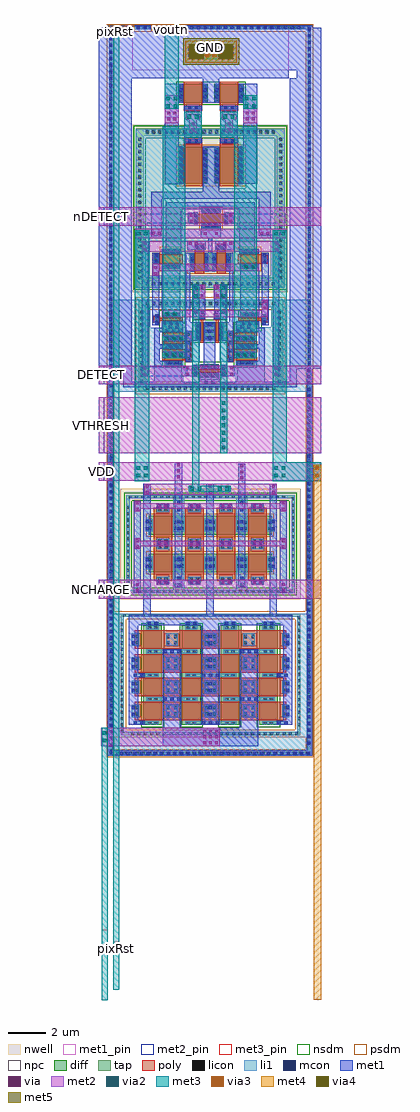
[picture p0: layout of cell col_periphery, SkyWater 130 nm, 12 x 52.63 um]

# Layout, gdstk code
from math import pi, radians
import gdstk
lib = gdstk.Library(unit=1e-6, precision=1e-09)
def R(c, l, rs):  # rectangles x0, y0, x1, y1
    for r in rs: c.add(gdstk.rectangle(r[:2], r[2:], *l))
def A(c, l, x, y, w, h, nx, ny, dx, dy):  # array of equal rectangles
    R(c, l, [(x+i*dx, y+j*dy, x+i*dx+w, y+j*dy+h) for i in range(nx) for j in range(ny)])
nwell = (64, 20)
diff = (65, 20)
tap = (65, 44)
poly = (66, 20)
licon = (66, 44)
li1 = (67, 20)
mcon = (67, 44)
met1_pin = (68, 16)
met1 = (68, 20)
via = (68, 44)
met2_pin = (69, 16)
met2 = (69, 20)
via2 = (69, 44)
met3_pin = (70, 16)
met3 = (70, 20)
via3 = (70, 44)
met4 = (71, 20)
via4 = (71, 44)
met5 = (72, 20)
nsdm = (93, 44)
psdm = (94, 20)
npc = (95, 20)

sky130_fd_pr__nfet_01v8_ = lib.new_cell('sky130_fd_pr__nfet_01v8_9ZWGZ9')
R(sky130_fd_pr__nfet_01v8_, diff, [(-0.365,-0.655,0.365,0.345)])
R(sky130_fd_pr__nfet_01v8_, poly, [(-0.075,-0.785,0.075,0.455), (-0.165,0.455,0.165,0.785)])
A(sky130_fd_pr__nfet_01v8_, licon, -0.305, -0.58, 0.17, 0.17, 1, 3, 0, 0.34)
A(sky130_fd_pr__nfet_01v8_, licon, 0.135, -0.58, 0.17, 0.17, 1, 3, 0, 0.34)
R(sky130_fd_pr__nfet_01v8_, licon, [(-0.085,0.535,0.085,0.705)])
R(sky130_fd_pr__nfet_01v8_, li1, [(-0.305,-0.66,-0.135,0.35), (0.125,-0.66,0.315,0.35), (-0.165,0.535,0.165,0.705)])
R(sky130_fd_pr__nfet_01v8_, met1, [(-0.145,0.505,0.145,0.735)])
R(sky130_fd_pr__nfet_01v8_, nsdm, [(-0.49,-0.78,0.49,0.47)])
R(sky130_fd_pr__nfet_01v8_, npc, [(-0.185,0.435,0.185,0.805)])
sky130_fd_pr__nfet_01v8_.add(gdstk.Label('G', (0,0.62), layer=67, texttype=5))
sky130_fd_pr__nfet_01v8_.add(gdstk.Label('S', (0.22,-0.155), layer=67, texttype=5))
sky130_fd_pr__nfet_01v8_.add(gdstk.Label('D', (-0.22,-0.155), layer=67, texttype=5))

c_sky130_fd_pr__nfet_01v8_ = lib.new_cell('sky130_fd_pr__nfet_01v8_ML4XRG')
R(c_sky130_fd_pr__nfet_01v8_, diff, [(-0.365,-0.345,0.365,0.655)])
R(c_sky130_fd_pr__nfet_01v8_, poly, [(-0.165,-0.785,0.165,-0.455), (-0.075,-0.455,0.075,0.785)])
A(c_sky130_fd_pr__nfet_01v8_, licon, -0.305, -0.27, 0.17, 0.17, 1, 3, 0, 0.34)
A(c_sky130_fd_pr__nfet_01v8_, licon, 0.135, -0.27, 0.17, 0.17, 1, 3, 0, 0.34)
R(c_sky130_fd_pr__nfet_01v8_, licon, [(-0.085,-0.705,0.085,-0.535)])
R(c_sky130_fd_pr__nfet_01v8_, li1, [(-0.265,-0.705,0.265,-0.535), (-0.305,-0.35,-0.135,0.66), (0.135,-0.35,0.305,0.66)])
R(c_sky130_fd_pr__nfet_01v8_, mcon, [(-0.265,-0.705,-0.095,-0.535), (0.095,-0.705,0.265,-0.535)])
R(c_sky130_fd_pr__nfet_01v8_, met1, [(-0.325,-0.735,-0.035,-0.505), (0.035,-0.735,0.325,-0.505), (-0.335,-0.345,-0.105,0.655), (0.105,-0.345,0.335,0.655)])
R(c_sky130_fd_pr__nfet_01v8_, nsdm, [(-0.49,-0.47,0.49,0.78)])
R(c_sky130_fd_pr__nfet_01v8_, npc, [(-0.185,-0.805,0.185,-0.435)])
c_sky130_fd_pr__nfet_01v8_.add(gdstk.Label('G', (0,-0.62), layer=67, texttype=5))
c_sky130_fd_pr__nfet_01v8_.add(gdstk.Label('S', (0.22,0.155), layer=67, texttype=5))
c_sky130_fd_pr__nfet_01v8_.add(gdstk.Label('D', (-0.22,0.155), layer=67, texttype=5))

c_sky130_fd_pr__nfet_01v8__ = lib.new_cell('sky130_fd_pr__nfet_01v8_9ZAZEB')
R(c_sky130_fd_pr__nfet_01v8__, diff, [(-0.365,-0.5,0.365,0.5)])
R(c_sky130_fd_pr__nfet_01v8__, poly, [(-0.165,-0.94,0.165,-0.61), (-0.075,-0.61,0.075,0.61), (-0.165,0.61,0.165,0.94)])
A(c_sky130_fd_pr__nfet_01v8__, licon, -0.305, -0.425, 0.17, 0.17, 1, 3, 0, 0.34)
A(c_sky130_fd_pr__nfet_01v8__, licon, 0.135, -0.425, 0.17, 0.17, 1, 3, 0, 0.34)
R(c_sky130_fd_pr__nfet_01v8__, licon, [(-0.085,-0.86,0.085,-0.69), (-0.085,0.69,0.085,0.86)])
R(c_sky130_fd_pr__nfet_01v8__, li1, [(-0.265,-0.86,0.265,-0.69), (-0.305,-0.52,-0.135,0.52), (0.135,-0.52,0.305,0.52), (-0.265,0.69,0.265,0.86)])
R(c_sky130_fd_pr__nfet_01v8__, mcon, [(-0.265,-0.86,-0.095,-0.69), (0.095,-0.86,0.265,-0.69), (-0.305,-0.265,-0.135,-0.095), (0.135,-0.265,0.305,-0.095), (-0.305,0.095,-0.135,0.265), (0.135,0.095,0.305,0.265), (-0.265,0.69,-0.095,0.86), (0.095,0.69,0.265,0.86)])
R(c_sky130_fd_pr__nfet_01v8__, met1, [(-0.295,-1.355,0.285,-0.89), (-0.325,-0.89,0.325,-0.66), (-0.335,-0.5,-0.105,0.5), (0.105,-0.5,0.335,0.5), (-0.325,0.66,0.325,0.89), (-0.295,0.89,0.285,1.355)])
R(c_sky130_fd_pr__nfet_01v8__, nsdm, [(-0.49,-0.625,0.49,0.625)])
R(c_sky130_fd_pr__nfet_01v8__, npc, [(-0.185,-0.96,0.185,-0.59), (-0.185,0.59,0.185,0.96)])
c_sky130_fd_pr__nfet_01v8__.add(gdstk.Label('G', (0,0.775), layer=67, texttype=5))
c_sky130_fd_pr__nfet_01v8__.add(gdstk.Label('S', (0.22,0), layer=67, texttype=5))
c_sky130_fd_pr__nfet_01v8__.add(gdstk.Label('D', (-0.22,0), layer=67, texttype=5))

sky130_fd_pr__pfet_01v8_ = lib.new_cell('sky130_fd_pr__pfet_01v8_KDZMJM')
R(sky130_fd_pr__pfet_01v8_, nwell, [(-0.72,-0.99,0.72,0.82)])
R(sky130_fd_pr__pfet_01v8_, diff, [(-0.54,-0.68,0.54,0.32)])
R(sky130_fd_pr__pfet_01v8_, poly, [(-0.25,-0.81,0.25,0.805)])
A(sky130_fd_pr__pfet_01v8_, licon, -0.48, -0.605, 0.17, 0.17, 1, 3, 0, 0.34)
A(sky130_fd_pr__pfet_01v8_, licon, 0.31, -0.605, 0.17, 0.17, 1, 3, 0, 0.34)
R(sky130_fd_pr__pfet_01v8_, licon, [(-0.085,0.555,0.085,0.725)])
R(sky130_fd_pr__pfet_01v8_, li1, [(-0.48,-0.7,-0.31,0.34), (0.31,-0.7,0.48,0.34), (-0.265,0.555,0.265,0.725)])
R(sky130_fd_pr__pfet_01v8_, mcon, [(-0.48,-0.445,-0.31,-0.275), (0.31,-0.445,0.48,-0.275), (-0.48,-0.085,-0.31,0.085), (0.31,-0.085,0.48,0.085), (-0.265,0.555,-0.095,0.725), (0.095,0.555,0.265,0.725)])
R(sky130_fd_pr__pfet_01v8_, met1, [(-0.51,-0.68,-0.28,0.32), (0.28,-0.68,0.51,0.32), (-0.325,0.525,0.325,0.755)])
R(sky130_fd_pr__pfet_01v8_, psdm, [(-0.665,-0.805,0.665,0.445)])
R(sky130_fd_pr__pfet_01v8_, npc, [(-0.185,0.455,0.185,0.825)])
sky130_fd_pr__pfet_01v8_.add(gdstk.Label('G', (0,0.64), layer=67, texttype=5))
sky130_fd_pr__pfet_01v8_.add(gdstk.Label('S', (0.395,-0.18), layer=67, texttype=5))
sky130_fd_pr__pfet_01v8_.add(gdstk.Label('D', (-0.395,-0.18), layer=67, texttype=5))

c_sky130_fd_pr__pfet_01v8_ = lib.new_cell('sky130_fd_pr__pfet_01v8_U2XPXD')
R(c_sky130_fd_pr__pfet_01v8_, nwell, [(-0.72,-1,0.72,1)])
R(c_sky130_fd_pr__pfet_01v8_, diff, [(-0.54,-0.5,0.54,0.5)])
R(c_sky130_fd_pr__pfet_01v8_, poly, [(-0.25,-0.985,0.25,0.985)])
A(c_sky130_fd_pr__pfet_01v8_, licon, -0.48, -0.425, 0.17, 0.17, 1, 3, 0, 0.34)
A(c_sky130_fd_pr__pfet_01v8_, licon, 0.31, -0.425, 0.17, 0.17, 1, 3, 0, 0.34)
R(c_sky130_fd_pr__pfet_01v8_, licon, [(-0.085,-0.905,0.085,-0.735), (-0.085,0.735,0.085,0.905)])
R(c_sky130_fd_pr__pfet_01v8_, li1, [(-0.265,-0.905,0.265,-0.735), (-0.48,-0.52,-0.31,0.52), (0.31,-0.52,0.48,0.52), (-0.265,0.735,0.265,0.905)])
R(c_sky130_fd_pr__pfet_01v8_, mcon, [(-0.265,-0.905,-0.095,-0.735), (0.095,-0.905,0.265,-0.735), (-0.48,-0.265,-0.31,-0.095), (0.31,-0.265,0.48,-0.095), (-0.48,0.095,-0.31,0.265), (0.31,0.095,0.48,0.265), (-0.265,0.735,-0.095,0.905), (0.095,0.735,0.265,0.905)])
R(c_sky130_fd_pr__pfet_01v8_, met1, [(-0.325,-0.935,0.325,-0.705), (-0.51,-0.5,-0.28,0.5), (0.28,-0.5,0.51,0.5), (-0.325,0.705,0.325,0.935)])
R(c_sky130_fd_pr__pfet_01v8_, psdm, [(-0.665,-0.625,0.665,0.625)])
R(c_sky130_fd_pr__pfet_01v8_, npc, [(-0.185,-1.005,0.185,-0.635), (-0.185,0.635,0.185,1.005)])
c_sky130_fd_pr__pfet_01v8_.add(gdstk.Label('G', (0,0.82), layer=67, texttype=5))
c_sky130_fd_pr__pfet_01v8_.add(gdstk.Label('S', (0.395,0), layer=67, texttype=5))
c_sky130_fd_pr__pfet_01v8_.add(gdstk.Label('D', (-0.395,0), layer=67, texttype=5))

c_sky130_fd_pr__pfet_01v8__ = lib.new_cell('sky130_fd_pr__pfet_01v8_D48SMA')
R(c_sky130_fd_pr__pfet_01v8__, nwell, [(-0.97,-1.32,0.97,1.49)])
R(c_sky130_fd_pr__pfet_01v8__, diff, [(-0.79,-0.82,0.79,1.18)])
R(c_sky130_fd_pr__pfet_01v8__, poly, [(-0.5,-1.305,0.5,1.31)])
A(c_sky130_fd_pr__pfet_01v8__, licon, -0.73, -0.755, 0.17, 0.17, 1, 6, 0, 0.34)
A(c_sky130_fd_pr__pfet_01v8__, licon, 0.56, -0.755, 0.17, 0.17, 1, 6, 0, 0.34)
R(c_sky130_fd_pr__pfet_01v8__, licon, [(-0.255,-1.225,-0.085,-1.055), (0.085,-1.225,0.255,-1.055)])
R(c_sky130_fd_pr__pfet_01v8__, li1, [(-0.5,-1.225,0.5,-1.055), (-0.73,-0.84,-0.56,1.2), (0.56,-0.84,0.73,1.2)])
A(c_sky130_fd_pr__pfet_01v8__, mcon, -0.73, -0.625, 0.17, 0.17, 1, 5, 0, 0.36)
A(c_sky130_fd_pr__pfet_01v8__, mcon, 0.56, -0.625, 0.17, 0.17, 1, 5, 0, 0.36)
R(c_sky130_fd_pr__pfet_01v8__, mcon, [(-0.265,-1.225,-0.095,-1.055), (0.095,-1.225,0.265,-1.055)])
R(c_sky130_fd_pr__pfet_01v8__, met1, [(-0.48,-1.255,0.48,-1.025), (-0.76,-0.82,-0.53,1.18), (0.53,-0.82,0.76,1.18)])
R(c_sky130_fd_pr__pfet_01v8__, psdm, [(-0.915,-0.945,0.915,1.305)])
R(c_sky130_fd_pr__pfet_01v8__, npc, [(-0.355,-1.325,0.355,-0.955)])
c_sky130_fd_pr__pfet_01v8__.add(gdstk.Label('G', (0,-1.14), layer=67, texttype=5))
c_sky130_fd_pr__pfet_01v8__.add(gdstk.Label('S', (0.645,0.18), layer=67, texttype=5))
c_sky130_fd_pr__pfet_01v8__.add(gdstk.Label('D', (-0.645,0.18), layer=67, texttype=5))

c_sky130_fd_pr__nfet_01v8___ = lib.new_cell('sky130_fd_pr__nfet_01v8_V52S8A')
R(c_sky130_fd_pr__nfet_01v8___, diff, [(-0.79,-0.655,0.79,0.345)])
R(c_sky130_fd_pr__nfet_01v8___, poly, [(-0.5,-0.785,0.5,0.785)])
A(c_sky130_fd_pr__nfet_01v8___, licon, -0.73, -0.58, 0.17, 0.17, 1, 3, 0, 0.34)
A(c_sky130_fd_pr__nfet_01v8___, licon, 0.56, -0.58, 0.17, 0.17, 1, 3, 0, 0.34)
R(c_sky130_fd_pr__nfet_01v8___, licon, [(-0.255,0.535,-0.085,0.705), (0.085,0.535,0.255,0.705)])
R(c_sky130_fd_pr__nfet_01v8___, li1, [(-0.73,-0.675,-0.56,0.365), (0.56,-0.675,0.73,0.365), (-0.5,0.535,0.5,0.705)])
R(c_sky130_fd_pr__nfet_01v8___, mcon, [(-0.73,-0.42,-0.56,-0.25), (0.56,-0.42,0.73,-0.25), (-0.73,-0.06,-0.56,0.11), (0.56,-0.06,0.73,0.11), (-0.265,0.535,-0.095,0.705), (0.095,0.535,0.265,0.705)])
R(c_sky130_fd_pr__nfet_01v8___, met1, [(-0.76,-0.655,-0.53,0.345), (0.53,-0.655,0.76,0.345), (-0.48,0.505,0.48,0.735)])
R(c_sky130_fd_pr__nfet_01v8___, nsdm, [(-0.915,-0.78,0.915,0.47)])
R(c_sky130_fd_pr__nfet_01v8___, npc, [(-0.355,0.435,0.355,0.805)])
c_sky130_fd_pr__nfet_01v8___.add(gdstk.Label('G', (0,0.62), layer=67, texttype=5))
c_sky130_fd_pr__nfet_01v8___.add(gdstk.Label('S', (0.645,-0.155), layer=67, texttype=5))
c_sky130_fd_pr__nfet_01v8___.add(gdstk.Label('D', (-0.645,-0.155), layer=67, texttype=5))

dyn_comp_v1 = lib.new_cell('dyn_comp_v1')
R(dyn_comp_v1, nwell, [(0.03,4.285,8.4,13.32)])
R(dyn_comp_v1, diff, [(3.905,1.69,4.455,1.97), (3.915,1.97,4.455,2.67), (5.645,2.21,6.605,2.33), (1.595,2.32,2.745,2.53), (5.645,2.33,6.855,2.39), (5.605,2.39,6.855,2.49), (5.605,2.49,5.855,2.54), (4.075,2.67,4.305,2.69), (3.915,5.415,4.525,6.415), (3.125,6.005,3.245,6.255)])
R(dyn_comp_v1, tap, [(0.32,-1.075,8.14,-0.665), (0.32,-0.665,0.73,3.48), (7.73,-0.665,8.14,3.48), (0.32,3.48,8.14,3.89), (0.21,4.55,8.22,4.96), (0.21,4.96,0.62,12.73), (7.81,4.96,8.22,12.73), (0.21,12.73,8.22,13.14)])
R(dyn_comp_v1, poly, [(2.855,0.54,3.185,2.19), (5.165,0.54,5.495,2.19), (1.155,2.67,1.455,3), (1.155,5.835,1.405,6.345)])
A(dyn_comp_v1, licon, 0.745, -0.955, 0.17, 0.17, 21, 2, 0.34, 4.555)
A(dyn_comp_v1, licon, 0.44, -0.605, 0.17, 0.17, 1, 12, 0, 0.34)
A(dyn_comp_v1, licon, 7.85, -0.605, 0.17, 0.17, 1, 12, 0, 0.34)
A(dyn_comp_v1, licon, 0.73, 4.67, 0.17, 0.17, 21, 2, 0.34, 8.18)
A(dyn_comp_v1, licon, 0.33, 4.985, 0.17, 0.17, 1, 23, 0, 0.34)
A(dyn_comp_v1, licon, 7.93, 4.985, 0.17, 0.17, 1, 23, 0, 0.34)
R(dyn_comp_v1, li1, [(0.315,-1.08,8.145,-0.59), (0.315,-0.59,2.75,0.4), (3.66,-0.59,4.7,-0.08), (5.6,-0.59,8.145,0.4), (0.315,0.4,2.735,0.58), (5.68,0.4,8.145,0.57), (2.935,0.54,3.645,2.19), (4.725,0.54,5.415,2.19), (6.825,0.57,8.145,1.27), (0.315,0.58,1.495,1.27), (1.74,0.825,2.75,1.025), (5.6,0.825,6.61,1.025), (0.315,1.27,2.745,1.46), (5.585,1.27,8.145,1.46), (0.315,1.46,1.495,2.16), (6.825,1.46,8.145,2.16), (3.905,1.685,4.465,2.705), (1.74,1.705,2.75,1.905), (5.6,1.705,6.61,1.905), (0.315,2.16,2.095,2.315), (2.555,2.16,2.745,2.315), (5.605,2.16,5.865,2.21), (6.605,2.16,8.145,2.21), (3.465,2.19,3.635,2.455), (4.725,2.19,4.895,2.455), (5.6,2.21,8.145,2.405), (0.315,2.315,2.75,2.37), (0.315,2.37,0.965,3.48), (1.59,2.37,2.75,2.53), (5.6,2.405,6.86,2.56), (7.495,2.405,8.145,3.48), (1.67,2.53,1.765,2.57), (2.555,2.53,2.75,2.7), (5.6,2.56,6.78,2.66), (1.235,2.57,1.405,3.1), (7.045,2.58,7.215,3.11), (5.6,2.66,5.865,2.71), (3.605,2.88,3.935,3.14), (4.425,2.88,4.755,3.14), (1.83,2.97,2.36,3.01), (6.09,2.98,6.62,3.15), (1.7,3.01,2.49,3.14), (3.345,3.14,3.935,3.31), (4.425,3.14,5.015,3.31), (0.315,3.48,8.145,3.885), (0.205,4.545,8.225,5.195), (0.205,5.195,0.945,7.055), (7.485,5.195,8.225,7.055), (3.125,5.395,3.295,5.585), (3.125,5.585,3.325,6.415), (1.155,5.83,1.405,6.36), (7.07,5.83,7.24,6.36), (3.125,6.415,3.305,6.435), (0.205,7.055,8.225,7.725), (0.205,7.725,2.735,8.935), (3.725,7.725,4.775,8.015), (5.705,7.725,8.225,8.935), (3,8.015,3.52,8.545), (4.99,8.015,5.42,8.545), (0.205,8.935,8.225,9.915), (0.205,9.915,2.385,12.765), (3.845,9.915,4.665,12.155), (6.125,9.915,8.225,12.765), (0.205,12.765,8.225,13.075)])
A(dyn_comp_v1, mcon, 1.98, 0.4, 0.17, 0.17, 1, 4, 0, 0.44)
A(dyn_comp_v1, mcon, 2.34, 0.4, 0.17, 0.17, 1, 4, 0, 0.44)
A(dyn_comp_v1, mcon, 5.84, 0.4, 0.17, 0.17, 1, 4, 0, 0.44)
A(dyn_comp_v1, mcon, 6.2, 0.4, 0.17, 0.17, 1, 4, 0, 0.44)
A(dyn_comp_v1, mcon, 4.095, 1.745, 0.17, 0.17, 1, 3, 0, 0.36)
R(dyn_comp_v1, mcon, [(3.915,-0.65,4.085,-0.48), (4.275,-0.65,4.445,-0.48), (3.465,1.925,3.635,2.095), (4.725,1.925,4.895,2.095), (3.465,2.285,3.635,2.455), (4.725,2.285,4.895,2.455), (1.98,2.345,2.15,2.515), (2.34,2.345,2.51,2.515), (5.84,2.35,6.01,2.52), (6.2,2.35,6.37,2.52), (1.83,2.97,2,3.14), (2.19,2.97,2.36,3.14), (6.09,2.98,6.26,3.15), (6.45,2.98,6.62,3.15), (3.345,3.14,3.515,3.31), (3.705,3.14,3.875,3.31), (4.485,3.14,4.655,3.31), (4.845,3.14,5.015,3.31)])
R(dyn_comp_v1, met1_pin, [(3.3,-0.7,3.38,-0.56)])
R(dyn_comp_v1, met1, [(-0.475,-0.84,8.875,-0.52), (-0.475,-0.52,-0.03,15.845), (1.205,-0.52,2.685,0.6), (3.66,-0.52,4.7,-0.08), (5.675,-0.52,7.145,0.6), (8.49,-0.52,8.875,15.845), (0.525,-0.24,0.875,7.055), (2.825,-0.24,3.145,-0.11), (5.215,-0.24,5.535,-0.11), (7.575,-0.24,7.935,7.055), (2.825,-0.11,3.52,0.22), (4.845,-0.11,5.535,0.22), (2.825,0.22,3.145,0.34), (5.215,0.22,5.535,0.34), (3.875,0.3,4.485,2.69), (2.905,0.56,3.135,1.67), (5.215,0.56,5.445,1.67), (1.205,0.6,1.495,1.25), (6.825,0.6,7.145,1.25), (1.745,0.795,2.745,1.055), (5.605,0.795,6.605,1.055), (1.205,1.25,2.745,1.48), (5.605,1.25,7.145,1.48), (1.205,1.48,1.495,2.13), (6.825,1.48,7.145,2.13), (2.905,1.67,3.695,2.69), (4.665,1.67,5.445,2.69), (1.745,1.675,2.745,1.935), (5.605,1.675,6.605,1.935), (1.205,2.13,2.765,2.37), (5.605,2.13,7.145,2.16), (5.585,2.16,7.145,2.37), (1.595,2.37,2.765,2.73), (5.605,2.37,7.115,2.38), (5.605,2.38,6.855,2.56), (1.085,2.51,1.455,6.42), (6.995,2.52,7.365,6.42), (5.605,2.56,6.815,2.66), (5.605,2.66,5.885,2.74), (2.905,2.69,3.125,5.395), (5.235,2.69,5.445,6.015), (3.285,2.85,3.935,4.695), (4.425,2.85,5.075,4.695), (5.835,2.935,6.855,5.845), (1.595,2.94,2.605,5.815), (2.905,5.395,3.355,5.705), (3.915,5.415,4.525,6.415), (2.905,5.705,3.125,6.005), (2.905,6.005,3.245,6.255), (5.105,6.015,5.445,6.255), (2.905,6.255,3.125,6.415), (5.235,6.255,5.445,6.415), (1.825,6.375,2.645,8.78), (5.785,6.375,6.605,8.78), (4.115,6.415,4.325,7.215), (2.975,6.585,3.96,7.05), (4.48,6.595,5.475,7.05), (3.725,7.215,4.775,7.285), (3.705,7.285,4.79,7.645), (1.02,7.32,1.6,7.64), (6.835,7.33,7.475,9.325), (1.02,7.64,1.595,9.325), (3.725,7.645,4.775,8.015), (3.03,7.985,3.55,7.99), (4.96,7.985,5.48,7.99), (3.015,7.99,3.55,8.57), (4.96,7.99,5.495,8.57), (3.03,8.57,3.55,8.575), (4.96,8.57,5.48,8.575), (1.825,8.78,6.605,9.14), (1.02,9.325,7.475,9.725), (3.815,9.725,4.695,12.135), (1.765,10.125,2.525,15.525), (5.985,10.135,6.425,10.145), (5.985,10.145,6.745,15.525), (2.805,12.335,3.765,14.36), (4.745,12.34,5.705,14.35), (3.815,14.525,4.695,15.845), (-0.87,15.845,8.46,17.165)])
A(dyn_comp_v1, via, 1.85, 0.85, 0.15, 0.15, 3, 2, 0.32, 0.88)
A(dyn_comp_v1, via, 5.71, 0.85, 0.15, 0.15, 3, 2, 0.32, 0.88)
R(dyn_comp_v1, via, [(0.625,-0.185,0.775,-0.035), (2.91,-0.185,3.06,-0.035), (5.3,-0.185,5.45,-0.035), (7.7,-0.185,7.85,-0.035), (0.625,0.135,0.775,0.285), (2.91,0.135,3.06,0.285), (5.3,0.135,5.45,0.285), (7.7,0.135,7.85,0.285), (1.86,3.04,2.01,3.19), (2.18,3.04,2.33,3.19), (7.08,3.375,7.23,3.525), (7.08,3.695,7.23,3.845), (3.695,4.045,3.845,4.195), (4.515,4.045,4.665,4.195), (3.695,4.485,3.845,4.635), (4.515,4.485,4.665,4.635), (1.195,5.23,1.345,5.38), (1.195,5.55,1.345,5.7), (6.11,5.58,6.26,5.73), (6.43,5.58,6.58,5.73), (0.61,6.53,0.76,6.68), (7.7,6.53,7.85,6.68), (3.06,6.845,3.21,6.995), (3.38,6.845,3.53,6.995), (4.92,6.845,5.07,6.995), (5.24,6.845,5.39,6.995), (0.61,6.85,0.76,7), (7.7,6.85,7.85,7), (6.92,7.385,7.07,7.535), (7.24,7.385,7.39,7.535), (3.865,7.39,4.015,7.54), (4.48,7.39,4.63,7.54), (1.075,7.405,1.225,7.555), (1.395,7.405,1.545,7.555), (3.1,8.045,3.25,8.195), (5.26,8.045,5.41,8.195), (3.1,8.365,3.25,8.515), (5.26,8.365,5.41,8.515), (3.21,12.98,3.36,13.13), (5.145,12.98,5.295,13.13), (3.21,13.3,3.36,13.45), (5.145,13.3,5.295,13.45), (1.905,13.57,2.055,13.72), (2.225,13.57,2.375,13.72), (6.135,13.57,6.285,13.72), (6.455,13.57,6.605,13.72), (1.905,13.89,2.055,14.04), (2.225,13.89,2.375,14.04), (6.135,13.89,6.285,14.04), (6.455,13.89,6.605,14.04)])
R(dyn_comp_v1, met2_pin, [(0.825,-0.24,2.97,0.27), (1.015,7.215,7.475,7.715), (0.37,8.025,8.265,8.535)])
R(dyn_comp_v1, met2, [(-1.8,-0.66,10.2,0.34), (1.735,0.735,2.715,0.76), (5.635,0.735,6.615,0.76), (1.66,0.76,2.83,1.09), (5.52,0.76,6.69,1.09), (1.735,1.09,2.715,1.105), (5.635,1.09,6.615,1.105), (1.66,1.64,2.83,1.97), (5.52,1.64,6.69,1.97), (1.595,2.95,7.315,3.33), (6.995,3.33,7.315,3.9), (3.23,3.95,3.955,4.695), (4.405,3.95,5.13,4.695), (1.11,5.175,1.43,5.465), (1.11,5.465,6.855,5.845), (0.525,6.475,7.935,7.055), (1.015,7.215,7.475,7.715), (-1.8,7.87,10.2,8.87), (3.075,12.925,3.495,13.595), (5.015,12.925,5.435,13.595), (1.765,13.41,2.525,14.18), (5.985,13.41,6.755,14.91), (2.895,13.595,3.665,13.925), (4.835,13.595,5.605,13.925), (1.755,14.18,2.525,14.91)])
A(dyn_comp_v1, via2, 1.745, 0.825, 0.2, 0.2, 3, 2, 0.4, 0.88)
A(dyn_comp_v1, via2, 5.605, 0.825, 0.2, 0.2, 3, 2, 0.4, 0.88)
R(dyn_comp_v1, via2, [(1.795,3.015,1.995,3.215), (2.195,3.015,2.395,3.215), (3.33,4,3.53,4.2), (4.83,4,5.03,4.2), (3.33,4.44,3.53,4.64), (4.83,4.44,5.03,4.64), (6.05,5.565,6.25,5.765), (6.45,5.565,6.65,5.765), (2.98,13.66,3.18,13.86), (3.38,13.66,3.58,13.86), (4.92,13.66,5.12,13.86), (5.32,13.66,5.52,13.86), (1.84,14.245,2.04,14.445), (2.24,14.245,2.44,14.445), (6.07,14.245,6.27,14.445), (6.47,14.245,6.67,14.445), (1.84,14.645,2.04,14.845), (2.24,14.645,2.44,14.845), (6.07,14.645,6.27,14.845), (6.47,14.645,6.67,14.845)])
R(dyn_comp_v1, met3_pin, [(3.32,4,3.535,4.415), (4.8,4.04,5.055,4.45)])
R(dyn_comp_v1, met3, [(3.255,-0.2,3.605,4.725), (4.755,-0.2,5.105,4.725), (1.655,0.735,2.855,12.615), (5.52,0.745,6.72,12.615), (1.65,12.615,3.765,13.235), (4.745,12.615,6.72,13.255), (2.805,13.235,3.765,14.035), (4.745,13.255,5.705,14.035), (1.755,14.18,2.525,14.91), (5.985,14.18,6.755,14.91)])
R(dyn_comp_v1, nsdm, [(3.78,1.565,4.58,2.095), (5.52,2.085,6.73,2.205), (3.79,2.095,4.58,2.795), (1.47,2.195,2.87,2.655), (5.52,2.205,6.98,2.265), (5.48,2.265,6.98,2.615), (5.48,2.615,5.98,2.665), (3.95,2.795,4.43,2.815), (0.085,4.425,8.345,5.085), (0.085,5.085,0.745,12.605), (7.685,5.085,8.345,12.605), (0.085,12.605,8.345,13.265), (4.2,14.4,4.31,15.65)])
R(dyn_comp_v1, psdm, [(0.195,-1.2,8.265,-0.54), (0.195,-0.54,0.855,3.355), (7.605,-0.54,8.265,3.355), (0.195,3.355,8.265,4.015), (3.79,5.29,4.65,6.54), (2.73,5.43,2.97,6.54), (5.47,5.43,5.71,6.54), (3,5.88,3.37,6.38), (4.2,10.01,4.31,12.26)])
A(dyn_comp_v1, npc, 2.835, 0.89, 0.37, 0.07, 1, 3, 0, 0.44)
A(dyn_comp_v1, npc, 5.145, 0.89, 0.37, 0.07, 1, 3, 0, 0.44)
dyn_comp_v1.add(gdstk.Reference(sky130_fd_pr__nfet_01v8_, (2.4,0.705), rotation=3*pi/2))
dyn_comp_v1.add(gdstk.Reference(sky130_fd_pr__nfet_01v8_, (2.4,1.145), rotation=pi/2, x_reflection=True))
dyn_comp_v1.add(gdstk.Reference(sky130_fd_pr__nfet_01v8_, (2.4,1.585), rotation=pi/2, x_reflection=True))
dyn_comp_v1.add(gdstk.Reference(sky130_fd_pr__nfet_01v8_, (3.77,2.345), rotation=pi, x_reflection=True))
dyn_comp_v1.add(gdstk.Reference(sky130_fd_pr__nfet_01v8_, (2.4,2.025), rotation=3*pi/2))
dyn_comp_v1.add(gdstk.Reference(c_sky130_fd_pr__nfet_01v8_, (1.94,2.835), rotation=3*pi/2))
dyn_comp_v1.add(gdstk.Reference(c_sky130_fd_pr__nfet_01v8__, (4.18,0.055), rotation=pi/2))
dyn_comp_v1.add(gdstk.Reference(sky130_fd_pr__nfet_01v8_, (5.95,0.705), rotation=3*pi/2, x_reflection=True))
dyn_comp_v1.add(gdstk.Reference(sky130_fd_pr__nfet_01v8_, (5.95,1.145), rotation=pi/2))
dyn_comp_v1.add(gdstk.Reference(sky130_fd_pr__nfet_01v8_, (5.95,1.585), rotation=3*pi/2, x_reflection=True))
dyn_comp_v1.add(gdstk.Reference(sky130_fd_pr__nfet_01v8_, (5.95,2.025), rotation=pi/2))
dyn_comp_v1.add(gdstk.Reference(sky130_fd_pr__nfet_01v8_, (4.59,2.345), rotation=pi, x_reflection=True))
dyn_comp_v1.add(gdstk.Reference(c_sky130_fd_pr__nfet_01v8_, (6.51,2.845), rotation=pi/2))
dyn_comp_v1.add(gdstk.Reference(sky130_fd_pr__pfet_01v8_, (3.635,6.095)))
dyn_comp_v1.add(gdstk.Reference(sky130_fd_pr__pfet_01v8_, (4.805,6.095)))
dyn_comp_v1.add(gdstk.Reference(sky130_fd_pr__pfet_01v8_, (1.925,6.095), rotation=pi/2))
dyn_comp_v1.add(gdstk.Reference(c_sky130_fd_pr__pfet_01v8_, (4.255,8.28), rotation=pi/2))
dyn_comp_v1.add(gdstk.Reference(sky130_fd_pr__pfet_01v8_, (6.515,6.095), rotation=3*pi/2))
dyn_comp_v1.add(gdstk.Reference(c_sky130_fd_pr__pfet_01v8__, (3.285,11.315), x_reflection=True))
dyn_comp_v1.add(gdstk.Reference(c_sky130_fd_pr__pfet_01v8__, (5.225,11.315), rotation=pi))
dyn_comp_v1.add(gdstk.Reference(c_sky130_fd_pr__nfet_01v8___, (3.285,14.87), x_reflection=True))
dyn_comp_v1.add(gdstk.Reference(c_sky130_fd_pr__nfet_01v8___, (5.225,14.87), x_reflection=True))
dyn_comp_v1.add(gdstk.Label('voutn', (2.09,14.99), layer=68, texttype=5))
dyn_comp_v1.add(gdstk.Label('voutp', (6.4,14.79), layer=68, texttype=5))
dyn_comp_v1.add(gdstk.Label('nDETECT', (4.317,8.28), layer=69, texttype=5))
dyn_comp_v1.add(gdstk.Label('VDD', (4.245,7.465), layer=69, texttype=5))
dyn_comp_v1.add(gdstk.Label('DETECT', (1.897,0.015), layer=69, texttype=5))
dyn_comp_v1.add(gdstk.Label('GND', (3.34,-0.63), layer=68, texttype=5))
dyn_comp_v1.add(gdstk.Label('vp', (3.427,4.207), layer=70, texttype=5))
dyn_comp_v1.add(gdstk.Label('vm', (4.927,4.245), layer=70, texttype=5))

col_periphery = lib.new_cell('col_periphery')
R(col_periphery, nwell, [(1.155,8.365,10.9,14.325)])
A(col_periphery, diff, 2.41, 1.59, 1, 5.37, 4, 1, 2.08, 0)
R(col_periphery, diff, [(2.695,9.83,9.325,10.83), (2.695,11.86,9.325,12.86)])
R(col_periphery, tap, [(0.555,-0.015,11.445,0.155), (0.555,0.155,0.725,39.095), (11.275,0.155,11.445,39.095), (1.18,1.045,10.88,1.215), (1.18,1.215,1.35,7.415), (10.71,1.215,10.88,7.415), (1.18,7.415,10.88,7.585), (1.49,8.7,10.565,8.87), (1.49,8.87,1.66,13.82), (10.395,8.87,10.565,13.82), (1.49,13.82,10.565,13.99), (0.555,39.095,11.445,39.265)])
A(col_periphery, poly, 1.955, 1.855, 8.15, 1, 1, 4, 0, 1.28)
A(col_periphery, poly, 2.96, 9.375, 1, 3.94, 4, 1, 1.7, 0)
A(col_periphery, licon, 0.955, -0.015, 0.17, 0.17, 31, 1, 0.34, 0)
A(col_periphery, licon, 0.555, 0.105, 0.17, 0.17, 1, 57, 0, 0.34)
A(col_periphery, licon, 11.275, 0.555, 0.17, 0.17, 1, 114, 0, 0.34)
A(col_periphery, licon, 1.75, 1.045, 0.17, 0.17, 27, 1, 0.34, 0)
A(col_periphery, licon, 1.18, 1.165, 0.17, 0.17, 1, 18, 0, 0.34)
A(col_periphery, licon, 10.71, 1.515, 0.17, 0.17, 1, 18, 0, 0.34)
A(col_periphery, licon, 2.655, 1.63, 0.17, 0.17, 1, 5, 0, 1.28)
A(col_periphery, licon, 2.995, 1.63, 0.17, 0.17, 1, 5, 0, 1.28)
A(col_periphery, licon, 4.735, 1.63, 0.17, 0.17, 1, 5, 0, 1.28)
A(col_periphery, licon, 5.075, 1.63, 0.17, 0.17, 1, 5, 0, 1.28)
A(col_periphery, licon, 6.815, 1.63, 0.17, 0.17, 1, 5, 0, 1.28)
A(col_periphery, licon, 7.155, 1.63, 0.17, 0.17, 1, 5, 0, 1.28)
A(col_periphery, licon, 8.895, 1.63, 0.17, 0.17, 1, 5, 0, 1.28)
A(col_periphery, licon, 9.235, 1.63, 0.17, 0.17, 1, 5, 0, 1.28)
A(col_periphery, licon, 1.3, 7.415, 0.17, 0.17, 14, 1, 0.34, 0)
A(col_periphery, licon, 6.15, 7.415, 0.17, 0.17, 13, 1, 0.34, 0)
A(col_periphery, licon, 2.115, 8.7, 0.17, 0.17, 25, 1, 0.34, 0)
A(col_periphery, licon, 1.49, 8.82, 0.17, 0.17, 1, 14, 0, 0.34)
A(col_periphery, licon, 10.395, 9.28, 0.17, 0.17, 1, 14, 0, 0.34)
A(col_periphery, licon, 1.61, 13.82, 0.17, 0.17, 13, 1, 0.34, 0)
A(col_periphery, licon, 6.15, 13.82, 0.17, 0.17, 12, 1, 0.34, 0)
A(col_periphery, licon, 0.555, 19.815, 0.17, 0.17, 1, 56, 0, 0.34)
A(col_periphery, licon, 0.675, 39.095, 0.17, 0.17, 31, 1, 0.34, 0)
R(col_periphery, licon, [(2.005,2.1,2.175,2.27), (3.645,2.1,3.815,2.27), (4.085,2.1,4.255,2.27), (5.725,2.1,5.895,2.27), (6.165,2.1,6.335,2.27), (7.805,2.1,7.975,2.27), (8.245,2.1,8.415,2.27), (9.885,2.1,10.055,2.27), (2.005,2.44,2.175,2.61), (3.645,2.44,3.815,2.61), (4.085,2.44,4.255,2.61), (5.725,2.44,5.895,2.61), (6.165,2.44,6.335,2.61), (7.805,2.44,7.975,2.61), (8.245,2.44,8.415,2.61), (9.885,2.44,10.055,2.61), (2.005,3.38,2.175,3.55), (3.645,3.38,3.815,3.55), (4.085,3.38,4.255,3.55), (5.725,3.38,5.895,3.55), (6.165,3.38,6.335,3.55), (7.805,3.38,7.975,3.55), (8.245,3.38,8.415,3.55), (9.885,3.38,10.055,3.55), (2.005,3.72,2.175,3.89), (3.645,3.72,3.815,3.89), (4.085,3.72,4.255,3.89), (5.725,3.72,5.895,3.89), (6.165,3.72,6.335,3.89), (7.805,3.72,7.975,3.89), (8.245,3.72,8.415,3.89), (9.885,3.72,10.055,3.89), (2.005,4.66,2.175,4.83), (3.645,4.66,3.815,4.83), (4.085,4.66,4.255,4.83), (5.725,4.66,5.895,4.83), (6.165,4.66,6.335,4.83), (7.805,4.66,7.975,4.83), (8.245,4.66,8.415,4.83), (9.885,4.66,10.055,4.83), (2.005,5,2.175,5.17), (3.645,5,3.815,5.17), (4.085,5,4.255,5.17), (5.725,5,5.895,5.17), (6.165,5,6.335,5.17), (7.805,5,7.975,5.17), (8.245,5,8.415,5.17), (9.885,5,10.055,5.17), (2.005,5.94,2.175,6.11), (3.645,5.94,3.815,6.11), (4.085,5.94,4.255,6.11), (5.725,5.94,5.895,6.11), (6.165,5.94,6.335,6.11), (7.805,5.94,7.975,6.11), (8.245,5.94,8.415,6.11), (9.885,5.94,10.055,6.11), (2.005,6.28,2.175,6.45), (3.645,6.28,3.815,6.45), (4.085,6.28,4.255,6.45), (5.725,6.28,5.895,6.45), (6.165,6.28,6.335,6.45), (7.805,6.28,7.975,6.45), (8.245,6.28,8.415,6.45), (9.885,6.28,10.055,6.45), (3.205,9.425,3.375,9.595), (3.545,9.425,3.715,9.595), (4.905,9.425,5.075,9.595), (5.245,9.425,5.415,9.595), (6.605,9.425,6.775,9.595), (6.945,9.425,7.115,9.595), (8.305,9.425,8.475,9.595), (8.645,9.425,8.815,9.595), (2.735,10.075,2.905,10.245), (4.015,10.075,4.185,10.245), (4.435,10.075,4.605,10.245), (5.715,10.075,5.885,10.245), (6.135,10.075,6.305,10.245), (7.415,10.075,7.585,10.245), (7.835,10.075,8.005,10.245), (9.115,10.075,9.285,10.245), (2.735,10.415,2.905,10.585), (4.015,10.415,4.185,10.585), (4.435,10.415,4.605,10.585), (5.715,10.415,5.885,10.585), (6.135,10.415,6.305,10.585), (7.415,10.415,7.585,10.585), (7.835,10.415,8.005,10.585), (9.115,10.415,9.285,10.585), (3.205,11.065,3.375,11.235), (3.545,11.065,3.715,11.235), (4.905,11.065,5.075,11.235), (5.245,11.065,5.415,11.235), (6.605,11.065,6.775,11.235), (6.945,11.065,7.115,11.235), (8.305,11.065,8.475,11.235), (8.645,11.065,8.815,11.235), (3.205,11.455,3.375,11.625), (3.545,11.455,3.715,11.625), (4.905,11.455,5.075,11.625), (5.245,11.455,5.415,11.625), (6.605,11.455,6.775,11.625), (6.945,11.455,7.115,11.625), (8.305,11.455,8.475,11.625), (8.645,11.455,8.815,11.625), (2.735,12.105,2.905,12.275), (4.015,12.105,4.185,12.275), (4.435,12.105,4.605,12.275), (5.715,12.105,5.885,12.275), (6.135,12.105,6.305,12.275), (7.415,12.105,7.585,12.275), (7.835,12.105,8.005,12.275), (9.115,12.105,9.285,12.275), (2.735,12.445,2.905,12.615), (4.015,12.445,4.185,12.615), (4.435,12.445,4.605,12.615), (5.715,12.445,5.885,12.615), (6.135,12.445,6.305,12.615), (7.415,12.445,7.585,12.615), (7.835,12.445,8.005,12.615), (9.115,12.445,9.285,12.615), (3.205,13.095,3.375,13.265), (3.545,13.095,3.715,13.265), (4.905,13.095,5.075,13.265), (5.245,13.095,5.415,13.265), (6.605,13.095,6.775,13.265), (6.945,13.095,7.115,13.265), (8.305,13.095,8.475,13.265), (8.645,13.095,8.815,13.265)])
A(col_periphery, li1, 1.785, 2.02, 0.39, 0.67, 1, 4, 0, 1.28)
A(col_periphery, li1, 3.645, 2.02, 0.61, 0.67, 3, 4, 2.08, 1.28)
A(col_periphery, li1, 9.885, 2.02, 0.39, 0.67, 1, 4, 0, 1.28)
A(col_periphery, li1, 2.575, 6.75, 0.67, 0.41, 4, 1, 2.08, 0)
A(col_periphery, li1, 3.125, 9.205, 0.67, 0.39, 4, 2, 1.7, 3.89)
A(col_periphery, li1, 3.125, 11.065, 0.67, 0.56, 4, 1, 1.7, 0)
R(col_periphery, li1, [(0.555,-0.015,11.445,1.215), (0.555,1.215,1.35,7.415), (10.71,1.215,11.445,7.415), (1.88,1.63,3.245,1.8), (4.655,1.63,7.405,1.8), (8.815,1.63,10.18,1.8), (2.575,2.91,5.325,3.08), (6.735,2.91,9.485,3.08), (1.88,4.19,3.245,4.36), (4.655,4.19,7.405,4.36), (8.815,4.19,10.18,4.36), (2.575,5.47,5.325,5.64), (6.735,5.47,9.485,5.64), (0.555,7.415,11.445,7.585), (0.555,7.585,0.725,19.55), (11.275,7.585,11.445,19.55), (1.49,8.7,10.565,8.87), (1.49,8.87,1.66,13.82), (4.015,8.87,4.605,10.665), (7.415,8.87,8.005,10.665), (10.395,8.87,10.565,13.82), (2.525,9.995,2.905,10.665), (5.715,9.995,6.305,10.665), (9.115,9.995,9.495,10.665), (4.015,12.02,4.605,13.82), (7.415,12.02,8.005,13.82), (2.525,12.025,2.905,12.695), (5.715,12.025,6.305,12.695), (9.115,12.025,9.495,12.695), (1.49,13.82,10.565,13.99), (0.555,19.55,2.53,24.515), (9.47,19.55,11.445,24.515), (0.555,24.515,0.725,39.095), (11.275,24.515,11.445,39.095), (2.005,25.175,2.315,33.705), (0.555,39.095,11.445,39.265)])
A(col_periphery, mcon, 1.135, -0.015, 0.17, 0.17, 29, 1, 0.36, 0)
A(col_periphery, mcon, 0.555, 0.045, 0.17, 0.17, 1, 54, 0, 0.36)
A(col_periphery, mcon, 11.275, 0.515, 0.17, 0.17, 1, 108, 0, 0.36)
A(col_periphery, mcon, 5.585, 1.63, 0.17, 0.17, 3, 2, 0.36, 2.56)
A(col_periphery, mcon, 1.785, 2.09, 0.17, 0.17, 3, 2, 4.16, 0.36)
A(col_periphery, mcon, 3.505, 2.91, 0.17, 0.17, 3, 2, 0.36, 2.56)
A(col_periphery, mcon, 7.665, 2.91, 0.17, 0.17, 3, 2, 0.36, 2.56)
A(col_periphery, mcon, 1.785, 3.37, 0.17, 0.17, 3, 2, 4.16, 0.36)
A(col_periphery, mcon, 1.785, 4.65, 0.17, 0.17, 3, 2, 4.16, 0.36)
A(col_periphery, mcon, 1.785, 5.93, 0.17, 0.17, 3, 2, 4.16, 0.36)
A(col_periphery, mcon, 2.525, 10.065, 0.17, 0.17, 5, 2, 1.7, 0.36)
A(col_periphery, mcon, 2.525, 12.095, 0.17, 0.17, 5, 2, 1.7, 0.36)
A(col_periphery, mcon, 0.555, 19.79, 0.17, 0.17, 1, 53, 0, 0.36)
A(col_periphery, mcon, 0.615, 39.095, 0.17, 0.17, 29, 1, 0.36, 0)
R(col_periphery, mcon, [(1.88,1.63,2.05,1.8), (2.24,1.63,2.41,1.8), (9.65,1.63,9.82,1.8), (10.01,1.63,10.18,1.8), (1.88,4.19,2.05,4.36), (2.24,4.19,2.41,4.36), (9.65,4.19,9.82,4.36), (10.01,4.19,10.18,4.36), (2.645,6.99,2.815,7.16), (3.005,6.99,3.175,7.16), (4.725,6.99,4.895,7.16), (5.085,6.99,5.255,7.16), (6.805,6.99,6.975,7.16), (7.165,6.99,7.335,7.16), (8.885,6.99,9.055,7.16), (9.245,6.99,9.415,7.16), (4.24,9.05,4.41,9.22), (7.64,9.05,7.81,9.22), (3.195,9.205,3.365,9.375), (3.555,9.205,3.725,9.375), (4.895,9.205,5.065,9.375), (5.255,9.205,5.425,9.375), (6.595,9.205,6.765,9.375), (6.955,9.205,7.125,9.375), (8.295,9.205,8.465,9.375), (8.655,9.205,8.825,9.375), (4.24,9.41,4.41,9.58), (7.64,9.41,7.81,9.58), (3.195,11.285,3.365,11.455), (3.555,11.285,3.725,11.455), (4.895,11.285,5.065,11.455), (5.255,11.285,5.425,11.455), (6.595,11.285,6.765,11.455), (6.955,11.285,7.125,11.455), (8.295,11.285,8.465,11.455), (8.655,11.285,8.825,11.455), (4.23,13.12,4.4,13.29), (7.63,13.12,7.8,13.29), (3.195,13.315,3.365,13.485), (3.555,13.315,3.725,13.485), (4.895,13.315,5.065,13.485), (5.255,13.315,5.425,13.485), (6.595,13.315,6.765,13.485), (6.955,13.315,7.125,13.485), (8.295,13.315,8.465,13.485), (8.655,13.315,8.825,13.485), (4.23,13.48,4.4,13.65), (7.63,13.48,7.8,13.65)])
R(col_periphery, met1_pin, [(1.8,36.885,10.26,39.325)])
A(col_periphery, met1, 2.41, 7.53, 0.4, 7.065, 3, 1, 3.4, 0)
A(col_periphery, met1, 3.14, 9.16, 0.64, 0.015, 4, 2, 1.7, 0.245)
A(col_periphery, met1, 3.135, 9.175, 0.65, 0.23, 4, 2, 1.7, 2.08)
A(col_periphery, met1, 3.14, 11.24, 0.64, 0.015, 4, 2, 1.7, 0.245)
A(col_periphery, met1, 3.14, 13.27, 0.64, 0.015, 4, 2, 1.7, 0.245)
A(col_periphery, met1, 3.135, 13.285, 0.65, 0.23, 4, 1, 1.7, 0)
R(col_periphery, met1, [(0.495,-0.075,11.505,0.215), (0.495,0.215,0.785,20.79), (11.215,0.215,11.505,20.79), (3.445,0.45,8.615,1.45), (3.445,1.45,4.455,5.67), (7.605,1.45,8.615,5.67), (1.62,1.6,2.47,1.83), (5.525,1.6,6.535,6.96), (9.59,1.6,10.44,1.83), (1.62,1.83,2.12,4.16), (9.94,1.83,10.44,4.16), (1.62,4.16,2.47,4.39), (9.59,4.16,10.44,4.39), (1.62,4.39,2.12,6.96), (9.94,4.39,10.44,6.96), (1.62,6.96,10.44,7.53), (1.89,8.72,2.27,13.69), (9.75,8.72,10.13,13.69), (4.11,9.02,4.51,15.685), (7.51,9.02,7.91,15.685), (4.145,15.685,4.465,15.75), (0,20.79,1.325,36.87), (10.675,20.79,12,36.885), (0,36.87,1.455,36.885), (0,36.885,12,39.18), (0.495,39.18,11.505,39.325)])
A(col_periphery, via, 5.635, 0.555, 0.15, 0.15, 3, 3, 0.32, 0.32)
A(col_periphery, via, 7.635, 14.84, 0.15, 0.15, 1, 3, 0, 0.32)
A(col_periphery, via, 4.23, 14.905, 0.15, 0.15, 1, 3, 0, 0.32)
A(col_periphery, via, 5.025, 37.665, 0.15, 0.15, 7, 2, 0.32, 0.32)
R(col_periphery, via, [(2.015,8.775,2.165,8.925), (9.87,8.775,10.02,8.925), (2.015,9.095,2.165,9.245), (9.87,9.095,10.02,9.245), (3.225,9.215,3.375,9.365), (3.545,9.215,3.695,9.365), (4.925,9.215,5.075,9.365), (5.245,9.215,5.395,9.365), (6.625,9.215,6.775,9.365), (6.945,9.215,7.095,9.365), (8.325,9.215,8.475,9.365), (8.645,9.215,8.795,9.365), (2.015,11.135,2.165,11.285), (9.875,11.135,10.025,11.285), (3.225,11.295,3.375,11.445), (3.545,11.295,3.695,11.445), (4.925,11.295,5.075,11.445), (5.245,11.295,5.395,11.445), (6.625,11.295,6.775,11.445), (6.945,11.295,7.095,11.445), (8.325,11.295,8.475,11.445), (8.645,11.295,8.795,11.445), (2.015,11.455,2.165,11.605), (9.875,11.455,10.025,11.605), (2.015,13.165,2.165,13.315), (9.875,13.165,10.025,13.315), (3.225,13.325,3.375,13.475), (3.545,13.325,3.695,13.475), (4.925,13.325,5.075,13.475), (5.245,13.325,5.395,13.475), (6.625,13.325,6.775,13.475), (6.945,13.325,7.095,13.475), (8.325,13.325,8.475,13.475), (8.645,13.325,8.795,13.475), (2.015,13.485,2.165,13.635), (9.875,13.485,10.025,13.635), (2.535,14.07,2.685,14.22), (5.935,14.07,6.085,14.22), (9.355,14.07,9.505,14.22), (2.535,14.39,2.685,14.54), (5.935,14.39,6.085,14.54), (9.355,14.39,9.505,14.54)])
R(col_periphery, met2_pin, [(0,8.41,0.3,9.42), (0,14.75,0.3,15.75), (0,16.25,0.3,19.25), (0,19.97,0.3,20.97), (0,28.5,0.3,29.5)])
R(col_periphery, met2, [(0.13,0.45,6.53,1.45), (0,8.41,12,9.42), (1.93,11.08,2.25,11.22), (9.79,11.08,10.11,11.22), (1.93,11.22,10.11,11.52), (1.93,11.52,2.25,11.66), (9.79,11.52,10.11,11.66), (1.93,13.11,2.25,13.25), (9.79,13.11,10.11,13.25), (1.93,13.25,10.11,13.55), (1.93,13.55,2.25,13.69), (9.79,13.55,10.11,13.69), (2.45,14.015,9.59,14.595), (0,14.75,12,15.75), (0,16.25,12,19.25), (0,19.97,0.3,20.97), (1.945,27.845,2.93,28.345), (9.165,27.845,10.15,28.345), (0,28.5,0.3,29.5), (4.86,37.5,7.26,38.3)])
A(col_periphery, via2, 6.63, 16.45, 0.2, 0.2, 1, 7, 0, 0.4)
A(col_periphery, via2, 4.96, 37.6, 0.2, 0.2, 6, 2, 0.4, 0.4)
R(col_periphery, via2, [(0.215,0.65,0.415,0.85), (0.215,1.05,0.415,1.25), (4.93,14.225,5.13,14.425), (5.33,14.225,5.53,14.425), (6.43,14.225,6.63,14.425), (6.83,14.225,7.03,14.425), (2.03,14.95,2.23,15.15), (2.43,14.95,2.63,15.15), (9.465,14.95,9.665,15.15), (9.865,14.95,10.065,15.15), (2.03,15.35,2.23,15.55), (2.43,15.35,2.63,15.55), (9.465,15.35,9.665,15.55), (9.865,15.35,10.065,15.55), (2.03,27.995,2.23,28.195), (2.43,27.995,2.63,28.195), (9.465,27.995,9.665,28.195), (9.865,27.995,10.065,28.195)])
R(col_periphery, met3_pin, [(0.78,-10.465,1.11,-10.105), (0.15,-10.45,0.48,-9.45), (0.78,38.845,1.11,39.145), (3.555,38.965,4.325,39.265)])
R(col_periphery, met3, [(0.15,-13.24,0.48,1.45), (0.78,-12.69,1.11,39.145), (4.845,14.16,7.115,14.49), (5.04,14.49,5.42,25.355), (1.945,14.745,2.715,28.26), (9.38,14.745,12,15.755), (9.38,15.755,10.15,28.26), (6.54,16.25,6.92,25.355), (3.555,35.175,4.325,39.265), (4.86,37.5,7.26,38.3)])
A(col_periphery, via3, 4.96, 37.6, 0.2, 0.2, 6, 2, 0.4, 0.4)
R(col_periphery, via3, [(11.685,14.95,11.885,15.15), (11.685,15.35,11.885,15.55)])
R(col_periphery, met4, [(11.595,-13.23,12,15.615), (4.67,37.31,7.45,38.49), (0.53,39.015,1.91,39.39), (2.83,39.015,4.67,39.39)])
R(col_periphery, via4, [(4.86,37.5,5.66,38.3), (6.46,37.5,7.26,38.3)])
R(col_periphery, met5, [(4.55,37.19,7.57,38.61)])
A(col_periphery, nsdm, 2.285, 1.465, 1.25, 5.62, 4, 1, 2.08, 0)
R(col_periphery, nsdm, [(1.365,8.575,10.69,8.995), (1.365,8.995,1.785,13.695), (10.27,8.995,10.69,13.695), (1.365,13.695,10.69,14.115)])
R(col_periphery, psdm, [(0.43,-0.14,11.57,0.28), (0.43,0.28,0.85,0.92), (11.15,0.28,11.57,0.92), (0.43,0.92,11.57,1.34), (0.43,1.34,1.475,7.29), (10.585,1.34,11.57,7.29), (0.43,7.29,11.57,7.71), (0.43,7.71,0.85,38.97), (11.15,7.71,11.57,38.97), (2.57,9.705,9.45,10.955), (2.57,11.735,9.45,12.985), (0.43,38.97,11.57,39.39)])
A(col_periphery, npc, 1.905, 2, 0.37, 0.71, 1, 4, 0, 1.28)
A(col_periphery, npc, 3.545, 2, 0.81, 0.71, 3, 4, 2.08, 1.28)
A(col_periphery, npc, 9.785, 2, 0.37, 0.71, 1, 4, 0, 1.28)
A(col_periphery, npc, 3.105, 9.325, 0.71, 0.37, 4, 2, 1.7, 3.67)
A(col_periphery, npc, 3.105, 10.965, 0.71, 0.76, 4, 1, 1.7, 0)
col_periphery.add(gdstk.Reference(dyn_comp_v1, (1.8,20.63)))
col_periphery.add(gdstk.Label('pixRst', (0.945,-10.465), layer=70, texttype=5))
col_periphery.add(gdstk.Label('pixRst', (0.93,-10.315), layer=70, texttype=5))
col_periphery.add(gdstk.Label('pixRst', (0.93,38.995), layer=70, texttype=5))
col_periphery.add(gdstk.Label('COL_LINE', (0.26,-10.3), layer=70, texttype=5))
col_periphery.add(gdstk.Label('GND', (6.03,38.105), layer=68, texttype=5))
col_periphery.add(gdstk.Label('VDD', (0.15,15.25), layer=69, texttype=5))
col_periphery.add(gdstk.Label('NCHARGE', (0.15,8.915), layer=69, texttype=5))
col_periphery.add(gdstk.Label('nDETECT', (0.15,29), layer=69, texttype=5))
col_periphery.add(gdstk.Label('VTHRESH', (0.15,17.75), layer=69, texttype=5))
col_periphery.add(gdstk.Label('DETECT', (0.15,20.47), layer=69, texttype=5))
col_periphery.add(gdstk.Label('pixRst', (0.945,-10.285), layer=70, texttype=5))
col_periphery.add(gdstk.Label('pixRst', (0.945,38.995), layer=70, texttype=5))
col_periphery.add(gdstk.Label('COL_LINE', (0.315,-9.95), layer=70, texttype=5))
col_periphery.add(gdstk.Label('voutn', (3.94,39.115), layer=70, texttype=5))

lib.write_gds('col_periphery.gds')
